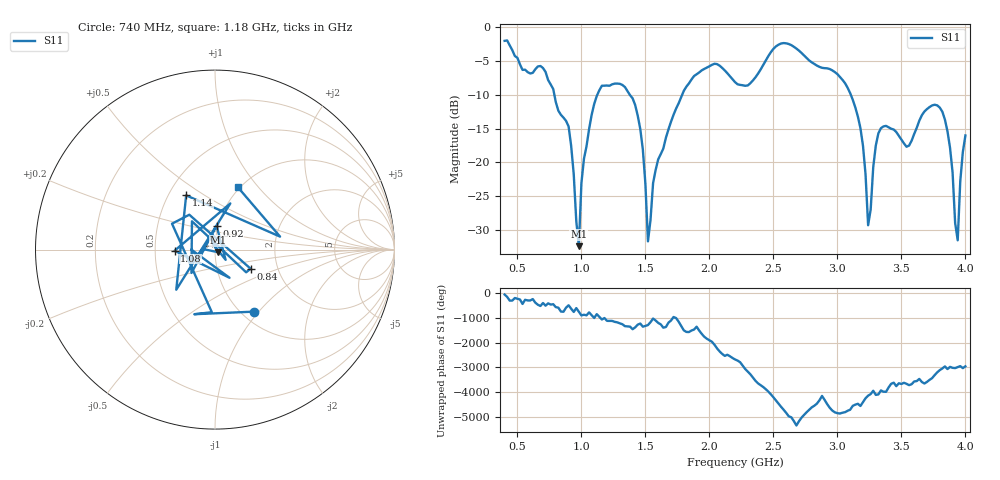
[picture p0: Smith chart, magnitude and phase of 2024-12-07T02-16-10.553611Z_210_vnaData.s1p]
!Created with skrf (http://scikit-rf.org).
# Hz S RI R 50.0
!freq ReS11 ImS11
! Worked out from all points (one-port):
!   181 points, 400 MHz to 4 GHz, reference 50 ohm
!   lowest |S11| = -32.4 dB at 980 MHz (marker M1), VSWR 1.05, Z = 51.9 - j1.53 ohm
!   |S11| at or under -10 dB: 788.9 MHz to 1.124 GHz (334.7 MHz wide, 35 % of centre); 1.379 GHz to 1.787 GHz (408.1 MHz wide, 25.8 % of centre); 3.105 GHz to end of sweep
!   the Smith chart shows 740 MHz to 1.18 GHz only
!   S11 on the Smith chart (normalised r, x): 740 MHz: 1.13, -0.94; 840 MHz: 1.45, -0.33; 920 MHz: 0.98, +0.26; 1.08 GHz: 0.63, -0.01; 1.14 GHz: 0.61, +0.42; 1.18 GHz: 0.98, +0.79
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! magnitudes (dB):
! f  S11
! 400 MHz  -2.0
! 740 MHz  -7.8
! 840 MHz  -12.9
! 860 MHz  -13.4
! 920 MHz  -17.6
! 980 MHz  -32.4
! 1 GHz  -23.1
! 1.08 GHz  -13.0
! 1.14 GHz  -9.3
! 1.18 GHz  -8.6
! 1.3 GHz  -8.4
! 1.46 GHz  -15.0
! 1.52 GHz  -31.7
! 1.58 GHz  -21.1
! 1.76 GHz  -11.2
! 2.04 GHz  -5.4
! 2.2 GHz  -8.1
! 2.66 GHz  -2.9
! 3.1 GHz  -9.8
! 3.2 GHz  -17.5
! 3.24 GHz  -29.3
! 3.34 GHz  -14.9
! 3.56 GHz  -17.5
! 3.82 GHz  -12.5
! 3.88 GHz  -17.8
! 3.94 GHz  -31.5
! 3.96 GHz  -22.8
! 4 GHz  -16.0
